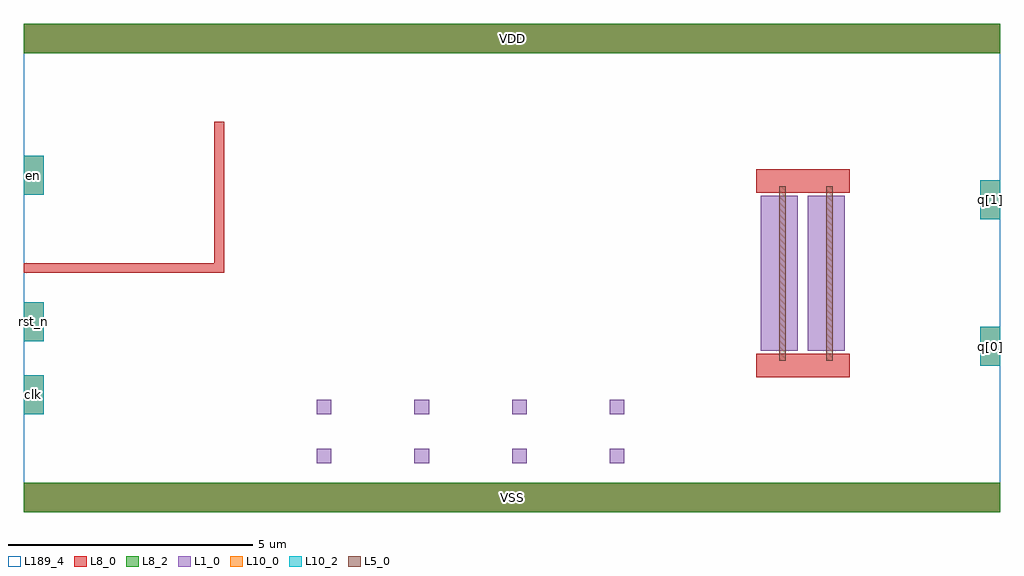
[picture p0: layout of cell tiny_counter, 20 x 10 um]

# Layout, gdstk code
import gdstk
lib = gdstk.Library(unit=1e-6, precision=1e-09)
def R(c, l, rs):  # rectangles x0, y0, x1, y1
    for r in rs: c.add(gdstk.rectangle(r[:2], r[2:], *l))
L1_0 = (1, 0)
L5_0 = (5, 0)
L8_0 = (8, 0)
L8_2 = (8, 2)
L10_0 = (10, 0)
L10_2 = (10, 2)
L189_4 = (189, 4)

tiny_counter_tap = lib.new_cell('tiny_counter_tap')
R(tiny_counter_tap, L1_0, [(0,0,0.3,0.3)])

sg13g2_inv_1 = lib.new_cell('sg13g2_inv_1')
R(sg13g2_inv_1, L1_0, [(0.1,0.3,0.86,3.48)])
R(sg13g2_inv_1, L5_0, [(0.48,0.1,0.61,3.68)])
R(sg13g2_inv_1, L8_0, [(0,-0.24,0.96,0.24), (0,3.54,0.96,4.02)])

sg13g2_buf_1 = lib.new_cell('sg13g2_buf_1')
R(sg13g2_buf_1, L8_0, [(0,-0.24,1.92,0.24), (0,3.54,1.92,4.02)])
sg13g2_buf_1.add(gdstk.Reference(sg13g2_inv_1, (0,0)))
sg13g2_buf_1.add(gdstk.Reference(sg13g2_inv_1, (0.96,0)))

tiny_counter = lib.new_cell('tiny_counter')
R(tiny_counter, L8_0, [(0,0,20,0.6), (0,9.4,20,10)])
R(tiny_counter, L8_2, [(0,0,20,0.6), (0,9.4,20,10)])
R(tiny_counter, L10_0, [(0,2,0.4,2.8), (19.6,3,20,3.8), (0,3.5,0.4,4.3), (19.6,6,20,6.8), (0,6.5,0.4,7.3)])
R(tiny_counter, L10_2, [(0,2,0.4,2.8), (19.6,3,20,3.8), (0,3.5,0.4,4.3), (19.6,6,20,6.8), (0,6.5,0.4,7.3)])
R(tiny_counter, L189_4, [(0,0,20,10)])
tiny_counter.add(gdstk.FlexPath([(0,5),(4,5),(4,8)], 0.2, ends="flush", simple_path=True, layer=8, datatype=0))  # L8_0
r = gdstk.Reference(tiny_counter_tap, (6,1)); r.repetition = gdstk.Repetition(4, 2, v1=(2,0), v2=(0,1)); tiny_counter.add(r)
tiny_counter.add(gdstk.Reference(sg13g2_buf_1, (15,3)))
tiny_counter.add(gdstk.Label('VDD', (10,9.7), layer=8, texttype=25))
tiny_counter.add(gdstk.Label('VSS', (10,0.3), layer=8, texttype=25))
tiny_counter.add(gdstk.Label('clk', (0.2,2.4), layer=10, texttype=25))
tiny_counter.add(gdstk.Label('rst_n', (0.2,3.9), layer=10, texttype=25))
tiny_counter.add(gdstk.Label('en', (0.2,6.9), layer=10, texttype=25))
tiny_counter.add(gdstk.Label('q[0]', (19.8,3.4), layer=10, texttype=25))
tiny_counter.add(gdstk.Label('q[1]', (19.8,6.4), layer=10, texttype=25))

lib.write_gds('tiny_counter.gds')
